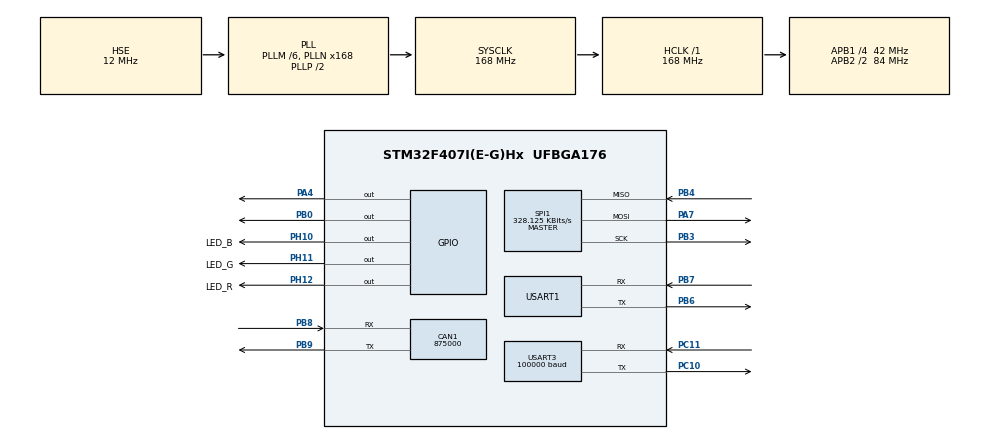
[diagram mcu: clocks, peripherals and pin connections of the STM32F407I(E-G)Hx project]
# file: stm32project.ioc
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CAN1.CalculateBaudRate=875000
CAN1.CalculateTimeBit=1142
CAN1.CalculateTimeQuantum=380.95238095238096
Dma.Request0=USART1_TX
Dma.Request1=USART3_RX
Dma.USART1_TX.0.Direction=DMA_MEMORY_TO_PERIPH
Dma.USART1_TX.0.FIFOMode=DMA_FIFOMODE_DISABLE
Dma.USART1_TX.0.Instance=DMA2_Stream7
Dma.USART1_TX.0.MemDataAlignment=DMA_MDATAALIGN_BYTE
Dma.USART1_TX.0.MemInc=DMA_MINC_ENABLE
Dma.USART1_TX.0.Mode=DMA_NORMAL
Dma.USART1_TX.0.PeriphDataAlignment=DMA_PDATAALIGN_BYTE
Dma.USART1_TX.0.PeriphInc=DMA_PINC_DISABLE
Dma.USART1_TX.0.Priority=DMA_PRIORITY_VERY_HIGH
Dma.USART3_RX.1.Direction=DMA_PERIPH_TO_MEMORY
Dma.USART3_RX.1.FIFOMode=DMA_FIFOMODE_DISABLE
Dma.USART3_RX.1.Instance=DMA1_Stream1
Dma.USART3_RX.1.MemDataAlignment=DMA_MDATAALIGN_BYTE
Dma.USART3_RX.1.MemInc=DMA_MINC_ENABLE
Dma.USART3_RX.1.Mode=DMA_NORMAL
Dma.USART3_RX.1.PeriphDataAlignment=DMA_PDATAALIGN_BYTE
Dma.USART3_RX.1.PeriphInc=DMA_PINC_DISABLE
Dma.USART3_RX.1.Priority=DMA_PRIORITY_VERY_HIGH
Mcu.Family=STM32F4
Mcu.Name=STM32F407I(E-G)Hx
Mcu.Package=UFBGA176
NVIC.DMA1_Stream1_IRQn=true\:0\:0\:false\:false\:true\:false\:true\:true
NVIC.DMA2_Stream7_IRQn=true\:0\:0\:false\:false\:true\:false\:true\:true
NVIC.PriorityGroup=NVIC_PRIORITYGROUP_4
NVIC.USART1_IRQn=true\:0\:0\:false\:false\:true\:false\:true\:true
NVIC.USART3_IRQn=true\:0\:0\:false\:false\:true\:true\:true\:true
PA13.Mode=Serial_Wire
PA13.Signal=SYS_JTMS-SWDIO
PA14.Mode=Serial_Wire
PA14.Signal=SYS_JTCK-SWCLK
PA4.Signal=GPIO_Output
PA7.Mode=Full_Duplex_Master
PA7.Signal=SPI1_MOSI
PB0.Signal=GPIO_Output
PB3.Mode=Full_Duplex_Master
PB3.Signal=SPI1_SCK
PB4.Mode=Full_Duplex_Master
PB4.Signal=SPI1_MISO
PB6.Mode=Asynchronous
PB6.Signal=USART1_TX
PB7.Mode=Asynchronous
PB7.Signal=USART1_RX
PB8.Mode=CAN_Activate
PB8.Signal=CAN1_RX
PB9.Mode=CAN_Activate
PB9.Signal=CAN1_TX
PC10.Mode=Asynchronous
PC10.Signal=USART3_TX
PC11.Mode=Asynchronous
PC11.Signal=USART3_RX
PH0-OSC_IN.Mode=HSE-External-Oscillator
PH0-OSC_IN.Signal=RCC_OSC_IN
PH1-OSC_OUT.Mode=HSE-External-Oscillator
PH1-OSC_OUT.Signal=RCC_OSC_OUT
PH10.GPIO_Label=LED_B
PH10.Signal=GPIO_Output
PH11.GPIO_Label=LED_G
PH11.Signal=GPIO_Output
PH12.GPIO_Label=LED_R
PH12.Signal=GPIO_Output
ProjectManager.HeapSize=0x200
ProjectManager.StackSize=0x400
ProjectManager.TargetToolchain=Makefile
RCC.48MHZClocksFreq_Value=84000000
RCC.AHBFreq_Value=168000000
RCC.APB1CLKDivider=RCC_HCLK_DIV4
RCC.APB1Freq_Value=42000000
RCC.APB1TimFreq_Value=84000000
RCC.APB2CLKDivider=RCC_HCLK_DIV2
RCC.APB2Freq_Value=84000000
RCC.APB2TimFreq_Value=168000000
RCC.CortexFreq_Value=168000000
RCC.HCLKFreq_Value=168000000
RCC.HSE_VALUE=12000000
RCC.HSI_VALUE=16000000
RCC.LSE_VALUE=32768
RCC.PLLM=6
RCC.PLLN=168
RCC.PLLSourceVirtual=RCC_PLLSOURCE_HSE
RCC.SYSCLKFreq_VALUE=168000000
RCC.SYSCLKSource=RCC_SYSCLKSOURCE_PLLCLK
RCC.VCOOutputFreq_Value=336000000
SPI1.BaudRatePrescaler=SPI_BAUDRATEPRESCALER_256
SPI1.CLKPhase=SPI_PHASE_2EDGE
SPI1.CLKPolarity=SPI_POLARITY_HIGH
SPI1.CalculateBaudRate=328.125 KBits/s
SPI1.Direction=SPI_DIRECTION_2LINES
SPI1.Mode=SPI_MODE_MASTER
SPI1.VirtualType=VM_MASTER
USART1.VirtualMode=VM_ASYNC
USART3.BaudRate=100000
USART3.Parity=PARITY_EVEN
USART3.VirtualMode=VM_ASYNC
board=custom

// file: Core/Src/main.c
/* USER CODE BEGIN Header */
/**
  ******************************************************************************
  * @file           : main.c
  * @brief          : Main program body
  ******************************************************************************
  * @attention
  *
  * Copyright (c) 2026 STMicroelectronics.
  * All rights reserved.
  *
  * This software is licensed under terms that can be found in the LICENSE file
  * in the root directory of this software component.
  * If no LICENSE file comes with this software, it is provided AS-IS.
  *
  ******************************************************************************
  */
/* USER CODE END Header */
#include "main.h"

/* USER CODE BEGIN Includes */
#include <stdarg.h>     /* va_list / va_start / va_end   → 实现变参 printf */
#include <stdio.h>      /* vsnprintf                     → 格式化字符串   */
#include <math.h>       /* sinf / cosf                   → 地面系旋转     */
/* USER CODE END Includes */

/* USER CODE BEGIN PTD */

/* ============ 遥控器（DBUS）数据结构 ============ */
typedef struct
{
  struct
  {
    int16_t ch[5];          /* 4 个摇杆 + 1 个预留；已减去中位 1024 → 中位为 0 */
    char    s[2];           /* 左右拨杆：1=上(拨向上) 2=中 3=下 */
  } rc;
  struct
  {
    int16_t x, y, z;        /* 鼠标位移（x=左右，y=上下，z=滚轮） */
    uint8_t press_l;        /* 鼠标左键：1=按下 */
    uint8_t press_r;        /* 鼠标右键：1=按下 */
  } mouse;
  union
  {
    uint16_t v;             /* 键盘值（16 位位图，WATCH 里看这个最直观） */
    struct
    {
      uint16_t W : 1, S : 1, A : 1, D : 1, SHIFT : 1, CTRL : 1;
      uint16_t Q : 1, E : 1, R : 1, F : 1, G : 1, Z : 1, X : 1, C : 1, V : 1, B : 1;
    } bit;
  } key;
} RC_ctrl_t;

/* USER CODE END PTD */

/* USER CODE BEGIN PD */

/* ============ 遥控器 DBUS 协议参数 ============ */
#define RC_FRAME_LENGTH    18     /* DBUS 一帧固定 18 字节 */
#define RC_CH_VALUE_OFFSET 1024   /* 摇杆中位（11 位数据的中值：1024） */
#define RC_TIMEOUT_MS      100    /* 超过 100ms 没收到帧 → 判定遥控器掉线 */

/* ============ printf 发送缓冲区大小 ============ */
#define PRINT_BUF_SIZE     256

/* ============ BMI088 陀螺仪 ============ */
/* 上电复位后的默认量程是 ±2000 dps（芯片默认值，不用写寄存器配置）
   → 1 LSB = 1/16.384 °/s = 0.0010653 rad/s */
#define BMI088_GYRO_SEN    0.0010653f

/* USER CODE END PD */

CAN_HandleTypeDef hcan1;

SPI_HandleTypeDef hspi1;

UART_HandleTypeDef huart1;
UART_HandleTypeDef huart3;
DMA_HandleTypeDef hdma_usart1_tx;
DMA_HandleTypeDef hdma_usart3_rx;

/* USER CODE BEGIN PV */
CAN_HandleTypeDef hcan1;          // CAN1 句柄
CAN_TxHeaderTypeDef TxHeader;     // 发送帧头
uint8_t TxData[8];                // 8 字节数据（一帧最多 8 字节）

/* --- 接收用：调试窗口（WATCH / Live Watch）直接看这几个变量 --- */
volatile uint32_t RxStdId;        // 收到的帧 ID（1号电机 = 0x201）
volatile uint8_t  RxData[8];      // 收到的 8 字节原始数据
volatile uint32_t RxCount;        // 累计收到帧数（用于验证是否在收）
volatile uint32_t RxLastTick;     // 最后一次收到反馈帧的时刻（HAL_GetTick 毫秒时间戳）

/* --- 拼好的物理量：调试窗口直接看，不用自己拼字节 --- */
volatile uint16_t RxEcd;          // 编码器机械角度 0~8191
volatile int16_t  RxSpeed;        // 转速 RPM（正=正转）
volatile int16_t  RxCurrent;      // 实际转矩电流
volatile uint8_t  RxTemp;

/* --- 4 个电机的反馈：下标 [0]~[3] 对应 CAN ID 0x201~0x204 --- */
volatile uint16_t RxEcd4[4];      // 各电机角度
volatile int16_t  RxSpeed4[4];    // 各电机转速 RPM
volatile int16_t  RxCurrent4[4];  // 各电机实际电流
volatile uint8_t  RxTemp4[4];     // 各电机温度
volatile uint32_t RxCount4[4];    // 各电机收帧计数

volatile int16_t initAngle;        // 机械角度（0~8191）
volatile int16_t fakeUseCurrent  = 500;   // 老变量保留
volatile int16_t fakeUseCurrent1 = 0;     // 1 号电机输出电流
volatile int16_t fakeUseCurrent2 = 0;     // 2 号电机输出电流
volatile int16_t fakeUseCurrent3 = 0;     // 3 号电机输出电流
volatile int16_t fakeUseCurrent4 = 0;     // 4 号电机输出电流
volatile int16_t fakeUseSpeed   = 1500;
volatile int16_t fakeUseSpeedLR = 0;      // 左右平移目标转速（0号通道，同强度）
volatile int16_t fakeUseOmega = 0;

/* --- BMI088 陀螺仪（SPI1：PB3=SCK / PB4=MISO / PA7=MOSI；CS：PA4=加速度计 / PB0=陀螺仪）--- */
volatile uint8_t BMI088_gyro_id;      /* 陀螺仪 ID（正常 0x0F，用来验证 SPI 通不通） */
volatile float   BMI088_gyro[3];      /* 三轴角速度 rad/s：X / Y / Z */
volatile float   gyro_offset[3];      /* 上电零漂标定值（rad/s） */
volatile float   INS_yaw;             /* ★ 绝对角度（rad，上电时刻 = 0，逆时针为正） */

/* --- 遥控器（DBUS）：WATCH 里直接看 rc_ctrl.rc.ch[0]~[3] --- */
uint8_t  rc_buf[RC_FRAME_LENGTH];     /* DMA 接收缓冲区：原始 18 字节（生数据） */
RC_ctrl_t rc_ctrl;                    /* 解码后的遥控器数据（熟数据，WATCH 看这个） */
volatile uint32_t rc_last_tick;       /* 最后一帧到达时刻（HAL_GetTick），用于掉线判断 */
uint32_t rc_print_tick;               /* printf 打印节流用的时间戳 */
/* USER CODE END PV */

void SystemClock_Config(void);
static void MX_GPIO_Init(void);
static void MX_DMA_Init(void);
static void MX_USART1_UART_Init(void);
static void MX_USART3_UART_Init(void);
static void MX_CAN1_Init(void);
static void MX_SPI1_Init(void);

/* USER CODE BEGIN 0 */
/* ============ CAN1 实现（收发）：M3508 + C620 电调 ============ */

int MOTOR1_CURRENT = 500;      // 1号电机电流：正=正转，负=反转，±16384≈±20A

/* ============ 速度环（内环）参数 ============ */
#define SPD_MAX      800       // 转速上限：超过就断电流（保护电机）
#define KP_SPD       5        // 比例系数（整数）
#define KI_SPD       1         // 积分系数（整数；原 0.5f 在整数运算里会被截断成 0，故取 1）
#define CUR_LIMIT    3000      // 电流限幅（整数，±16384≈±20A，3000≈3.7A）

/*
 * CAN1 初始化，整个程序只调用一次
 * 波特率 = APB1 / (Prescaler x (1 + TimeSeg1 + TimeSeg2))
 *        = 42MHz / (3 x (1 + 11 + 2)) = 42MHz / 42 = 1Mbps
 * 注意：APB1 频率由时钟配置决定，换了晶振/时钟树后这里必须重新算
 */
static void CAN1_Init(void)
{
  GPIO_InitTypeDef gpio = {0};

  /* HAL宏：使能 CAN1 外设的时钟。STM32 外设默认断电，不开时钟则 CAN1 完全不工作 */
  __HAL_RCC_CAN1_CLK_ENABLE();                 // 开 CAN1 时钟

  /* ★ 硬复位 CAN 外设，让下面的 HAL_CAN_Init 从干净状态重新配置

     为什么需要：CubeMX 生成代码时给 main() 加了一个 MX_CAN1_Init()，它已经用
     Prescaler=16 / TSeg1=1TQ / TSeg2=1TQ（=875kbps）初始化过一次 CAN，并且
     把 CAN 拉到总线上处于 Normal 模式。这里如果不复位，会出现两个问题：
       ① BTR 可能沿用 875kbps → 电调完全收不到指令
       ② 前面若已在总线上出错进入 bus-off，HAL_CAN_Init 等 INAK 会超时（10ms）
          → hcan1.State 变成 ERROR → 之后 ConfigFilter / Start 会静默失败

     复位 + 把 State 手动置回 RESET 后，HAL_CAN_Init 会：
       - 重新调用 HAL_CAN_MspInit（再开一次时钟，无害）
       - 用下面 hcan1.Init 里的 1Mbps 参数重新写 BTR 寄存器         */
  __HAL_RCC_CAN1_FORCE_RESET();
  __HAL_RCC_CAN1_RELEASE_RESET();
  hcan1.State = HAL_CAN_STATE_RESET;

  /* HAL宏：使能 GPIOD 的时钟。PD0/PD1 属于 D 口，不开时钟就配置不了这两个引脚 */
  __HAL_RCC_GPIOD_CLK_ENABLE();                // 开 GPIOD 时钟（PD0/PD1 在 D 口）

  gpio.Pin       = GPIO_PIN_0 | GPIO_PIN_1;    // PD0=RX, PD1=TX
  gpio.Mode      = GPIO_MODE_AF_PP;            // 复用推挽
  gpio.Pull      = GPIO_PULLUP;                // 上拉
  gpio.Speed     = GPIO_SPEED_FREQ_VERY_HIGH;  // 高速
  gpio.Alternate = GPIO_AF9_CAN1;              // 复用功能 = CAN1 (AF9)
  /* HAL函数：按 gpio 结构体里的配置初始化 GPIO
     作用：把 PD0/PD1 从"普通IO"切换成"CAN1 复用功能"（AF9） */
  HAL_GPIO_Init(GPIOD, &gpio);

  hcan1.Instance           = CAN1;             // CAN1 外设
  hcan1.Init.Prescaler     = 3;                // 分频（APB1=42MHz，3x14=42 → 正好 1Mbps）
  hcan1.Init.Mode          = CAN_MODE_NORMAL;  // 正常模式
  hcan1.Init.SyncJumpWidth = CAN_SJW_1TQ;      // 同步跳转宽度
  hcan1.Init.TimeSeg1      = CAN_BS1_11TQ;     // 段1
  hcan1.Init.TimeSeg2      = CAN_BS2_2TQ;      // 段2（1+11+2=14 → 3x14=42 → 1Mbps，采样点 85.7%）
  hcan1.Init.TimeTriggeredMode    = DISABLE;
  hcan1.Init.AutoBusOff           = ENABLE;
  hcan1.Init.AutoWakeUp           = DISABLE;
  hcan1.Init.AutoRetransmission   = ENABLE;
  hcan1.Init.ReceiveFifoLocked    = DISABLE;
  hcan1.Init.TransmitFifoPriority = DISABLE;
  /* HAL函数：用 hcan1.Init 里的参数初始化 CAN1 控制器
     内部动作：算波特率、把分频/时间段/工作模式写进 CAN 寄存器 */
  HAL_CAN_Init(&hcan1);
  gpio.Pin  = GPIO_PIN_8 | GPIO_PIN_9;
  gpio.Mode = GPIO_MODE_ANALOG;
  gpio.Pull = GPIO_NOPULL;
  HAL_GPIO_Init(GPIOB, &gpio);

  /*
   * 过滤器（ID_LIST 列表模式）：只放行 0x201~0x204 四个电调反馈帧
   * 注意：16 位列表模式下这 4 个字段都是"ID 存储位"，标准 ID 需左移 5 位
   */
  CAN_FilterTypeDef filter = {0};
  filter.FilterMode           = CAN_FILTERMODE_IDLIST;   // 列表模式：只收列出的 ID
  filter.FilterScale          = CAN_FILTERSCALE_16BIT;   // 16 位 → 一组装 4 个 ID
  filter.FilterIdHigh         = 0x201 << 5;              // 1号电机
  filter.FilterIdLow          = 0x202 << 5;              // 2号电机
  filter.FilterMaskIdHigh     = 0x203 << 5;              // 3号电机
  filter.FilterMaskIdLow      = 0x204 << 5;              // 4号电机
  filter.FilterBank           = 0;                       // CAN1 只能用 0~13
  filter.FilterFIFOAssignment = CAN_FILTER_FIFO0;        // 送进 FIFO0
  filter.FilterActivation     = ENABLE;
  /* HAL函数：把上面的 filter 配置写进硬件过滤器
     作用：决定总线上哪些 ID 的帧能被收进来（不匹配的硬件直接丢弃） */
  HAL_CAN_ConfigFilter(&hcan1, &filter);

  /* HAL函数：让 CAN 离开"初始化模式"、进入正常工作状态
     不调用的话，后面所有发送/接收都会直接失败 */
  HAL_CAN_Start(&hcan1);                       // 启动 CAN（不启动发送会失败）

  /* 打开接收中断：FIFO0 收到匹配帧 → 触发 CAN1_RX0 中断 → 调用回调 */
  /* HAL函数：打开"FIFO0 收到新消息"这个中断使能
     打开后：FIFO0 一有新帧，HAL 就会自动调用接收回调函数 */
  HAL_CAN_ActivateNotification(&hcan1, CAN_IT_RX_FIFO0_MSG_PENDING);
  /* HAL函数：设置 CAN1_RX0 中断的优先级（抢占优先级0、子优先级0）
     数值越小优先级越高，0 是最高优先级 */
  HAL_NVIC_SetPriority(CAN1_RX0_IRQn, 0, 0);   // 优先级
  /* HAL函数：在 NVIC（中断控制器）里真正"放行"这个中断
     不调用的话，即使 FIFO 有数据，CPU 也不会跳进中断函数 */
  HAL_NVIC_EnableIRQ(CAN1_RX0_IRQn);           // 放行中断
}

/*
 * 发送电流指令给 1~4 号电调（CAN ID = 0x200）
 * cur1~cur4：电流给定，正=正转，负=反转，±16384 对应 ±20A
 */
static void CAN_cmd_chassis(int16_t cur1, int16_t cur2, int16_t cur3, int16_t cur4)
{
  uint32_t TxMailbox;

  TxHeader.StdId = 0x200;         // CAN ID
  TxHeader.IDE   = CAN_ID_STD;    // 标准帧
  TxHeader.RTR   = CAN_RTR_DATA;  // 数据帧
  TxHeader.DLC   = 8;             // 8 字节

  TxData[0] = cur1 >> 8;   TxData[1] = cur1 & 0xFF;   // 电机1
  TxData[2] = cur2 >> 8;   TxData[3] = cur2 & 0xFF;   // 电机2
  TxData[4] = cur3 >> 8;   TxData[5] = cur3 & 0xFF;   // 电机3
  TxData[6] = cur4 >> 8;   TxData[7] = cur4 & 0xFF;   // 电机4

  /* HAL函数：把这一帧放进发送邮箱并请求发送
     参数依次：CAN句柄、帧头（含ID/长度）、8字节数据、回填"用了哪个邮箱"
     注意：返回 HAL_OK 只表示"投递成功"，不代表电调收到了（要等对方回 ACK） */
  HAL_CAN_AddTxMessage(&hcan1, &TxHeader, TxData, &TxMailbox);
}

/*
 * 速度环（内环）：让电机稳定在 SPD_TARGET 转速
 * 输出 = PI(目标转速 - 实际转速) → 电流
 * 两道保护：① 反馈超时（50ms 收不到新帧）→ 断输出
 *           ② 转速超过 SPD_MAX            → 断输出
 */

static void SpeedLoop_Fake(void)
{
  /* 目标转速 = 前后项(fakeUseSpeed) + 左右项(fakeUseSpeedLR)，各自带自己的方向系数
     麦轮横移时左右两侧轮子的世界转向相反 → 本体系数 = 前后系数 × 横移分配 */
  /* 每行开头的方向系数：+1 = 与 1 号电机同向；-1 = 镜像安装（本体必须反转才跟大家同向）
     —— 哪个电机转反了，就改那一行的符号
     注意：RxSpeed4[i] 是"电机本体"的转速，不乘方向系数 */
  fakeUseCurrent1 = (-1) * fakeUseSpeed + (-1) * fakeUseSpeedLR + (1) * fakeUseOmega - RxSpeed4[0];   /* 1 号：本体反向 */
  fakeUseCurrent2 = ( 1) * fakeUseSpeed + (-1) * fakeUseSpeedLR + (1) * fakeUseOmega - RxSpeed4[1];   /* 2 号：本体反向 */
  fakeUseCurrent3 = ( 1) * fakeUseSpeed + ( 1) * fakeUseSpeedLR + (1) * fakeUseOmega - RxSpeed4[2];   /* 3 号：正常 */
  fakeUseCurrent4 = (-1) * fakeUseSpeed + ( 1) * fakeUseSpeedLR + (1) * fakeUseOmega - RxSpeed4[3];   /* 4 号：正常 */

  if (fakeUseCurrent1 > 2000)
  {
    fakeUseCurrent1 = 2000;
  }
  if (fakeUseCurrent1 < -2000)
  {
    fakeUseCurrent1 = -2000;
  }
  /* 2/3/4 号电机同样的限幅 */
  if (fakeUseCurrent2 >  2000) fakeUseCurrent2 =  2000;
  if (fakeUseCurrent2 < -2000) fakeUseCurrent2 = -2000;
  if (fakeUseCurrent3 >  2000) fakeUseCurrent3 =  2000;
  if (fakeUseCurrent3 < -2000) fakeUseCurrent3 = -2000;
  if (fakeUseCurrent4 >  2000) fakeUseCurrent4 =  2000;
  if (fakeUseCurrent4 < -2000) fakeUseCurrent4 = -2000;

  CAN_cmd_chassis(fakeUseCurrent1, fakeUseCurrent2, fakeUseCurrent3, fakeUseCurrent4);
}

/* ============ 位置环（外环，只用 P 和 D）============ */
#define HALF_TURN_CNT   78656   /* 输出轴转半圈 = 转子 9.6 圈 × 8192 计数
                                   （若指"转子半圈"，改成 4096） */
#define KP_ANG_SHIFT    4       /* P 系数 = 1/8（数值越大刚度越强） */
#define KD_ANG_SHIFT    0       /* D 系数 = 1（数值越大阻尼越弱） */
#define SPD_CMD_LIMIT   1500    /* 外层输出的目标转速限幅（RPM） */

volatile int32_t errPos, spdCmd;
static uint16_t lastEcd  = 0;   /* 上一帧的单圈角度 */
static int32_t  totalCnt = 0;   /* 多圈累计角度（转子计数） */
static int32_t  startCnt = 0;   /* 起点：第一次调用时的累计角度 */
static uint8_t  started  = 0;   /* 是否已记起点 */

static void Rotate_Fake(int32_t targetAngle){

  /* ① 单圈角度 0~8191 累加成"多圈位移"
        差值转 int16_t：跨越 0/8191 边界时自动得到 ±小增量，天然处理回绕 */
  int32_t dCnt = (int32_t)RxEcd - (int32_t)lastEcd;   /* 本帧增量，范围 -8191 ~ +8191 */
  if (dCnt >  4096) dCnt -= 8192;                     /* 正向跨过一圈边界（8191→0） */
  if (dCnt < -4096) dCnt += 8192;                     /* 反向跨过一圈边界（0→8191） */
  totalCnt += dCnt;
  lastEcd   = RxEcd;

  if (!started)                     /* 第一次调用：记下起点 */
  {
    startCnt = totalCnt;
    started  = 1;
  }

  /* ② 位置误差（计数）：正 = 还差多少到目标
        targetAngle = "从起点还要转多少"（不是转到哪） */
  errPos = (startCnt + targetAngle) - totalCnt;

  /* ③ PD：P 项 = 误差右移（÷128）当目标转速；D 项 = 用实测转速当阻尼 */
  spdCmd = (errPos >> KP_ANG_SHIFT) - (RxSpeed >> KD_ANG_SHIFT);

  /* ④ 目标转速限幅 */
  if (spdCmd > SPD_CMD_LIMIT) spdCmd = SPD_CMD_LIMIT;
  if (spdCmd < -SPD_CMD_LIMIT) spdCmd = -SPD_CMD_LIMIT;

  /* ⑤ 交给内层执行（内层把它当成 SPD_TARGET 去追） */
  fakeUseSpeed = (int16_t)spdCmd;
  SpeedLoop_Fake();
}

/*
 * 接收回调：CAN1 FIFO0 收到匹配帧时由 HAL 自动调用（运行在中断里）
 * 功能：把 8 字节原始数据搬到全局变量，供调试窗口查看
 */
void HAL_CAN_RxFifo0MsgPendingCallback(CAN_HandleTypeDef *hcan1)
{
  CAN_RxHeaderTypeDef RxHeader;
  uint8_t tmp[8];

  /* HAL函数：从 FIFO0 取出 1 帧数据
     帧头信息写入 RxHeader（ID、长度等），8 字节数据写入 tmp，成功返回 HAL_OK */
  if (HAL_CAN_GetRxMessage(hcan1, CAN_RX_FIFO0, &RxHeader, tmp) == HAL_OK)
  {
    /* ① 刷新"还活着"的时间戳：速度环用它判断反馈有没有断线 */
    /* HAL函数：读取系统已运行的毫秒数（由 SysTick 中断每 1ms 累加一次）
       这里用于速度环的"反馈超时"判断 */
    RxLastTick = HAL_GetTick();

    /* ② 保存帧 ID 和原始 8 字节（调试器里可以直接看） */
    RxStdId = RxHeader.StdId;
    /* 只处理 0x201~0x204 四个电调反馈帧；idx = 0~3 对应电机 1~4 */
    if (RxStdId >= 0x201 && RxStdId <= 0x204)
      {
        int idx = (int)(RxStdId - 0x201);                // 0~3 对应电机 1~4
        for (int i = 0; i < 8; i++) RxData[i] = tmp[i];  // 拷贝 8 字节（原始）
        RxCount++;                                       // 帧数 +1

      /* ③ 心跳灯：每收到 500 帧就翻转一次绿灯
            电调回传频率是 1kHz → 约 2Hz 闪烁（肉眼明显）
            作用：不用调试器也能判断接收死活
                  绿灯稳定闪烁 = 接收正常 ✅
                  绿灯不动     = 接收断了 ❌                        */
      if ((RxCount % 2000) == 1)   // 4 个电机共约 4kHz 帧率 → 2000 帧仍约 2Hz
      {
        /* HAL函数：翻转引脚电平（当前是高就变低，是低就变高） */
        HAL_GPIO_TogglePin(LED_G_GPIO_Port, LED_G_Pin);
      }

      /* 按电调反馈帧格式拼出物理量：高八位在前，低八位在后 */
      /* 每个电机只填自己那一格：idx 0~3 ←→ 电机 1~4 */
      RxEcd4[idx]     = (uint16_t)((tmp[0] << 8) | tmp[1]);  // 编码器角度 0~8191
      RxSpeed4[idx]   = (int16_t) ((tmp[2] << 8) | tmp[3]);  // 转速 RPM
      RxCurrent4[idx] = (int16_t) ((tmp[4] << 8) | tmp[5]);  // 实际电流
      RxTemp4[idx]    = tmp[6];                              // 温度
      RxCount4[idx]++;                                       // 该电机累计帧数

      /* 1 号电机的值同步留在老变量里（调试习惯 + Rotate_Fake 在用） */
      RxEcd     = RxEcd4[0];
      RxSpeed   = RxSpeed4[0];
      RxCurrent = RxCurrent4[0];
      RxTemp    = RxTemp4[0];

    }
  }
  //aaa
}
/* ==================================================================
 * 遥控器（DBUS）部分
 * 数据流：USART3 硬件 → DMA 搬运 → rc_buf[18] →(解码) rc_ctrl → 你使用
 * ================================================================== */

/*
 * 位拼接解码：把 18 字节生数据按 DBUS 协议还原成物理量
 * DBUS 把多个 11 位的通道值连续打包，所以要用"移位 + 或 + 掩码"跨字节拼
 * 0x07ff = 二进制 11 个 1 → 作用就是截取 11 位
 */
static void sbus_to_rc(volatile const uint8_t *sbus_buf, RC_ctrl_t *rc_ctrl)
{
  if (sbus_buf == NULL || rc_ctrl == NULL)
  {
    return;
  }

  /* ① 4 个摇杆通道：每通道 11 位，可能横跨 2~3 个字节 */
  rc_ctrl->rc.ch[0] =  (sbus_buf[0]       | (sbus_buf[1] << 8)) & 0x07ff;                       /* 右摇杆 左右 */
  rc_ctrl->rc.ch[1] = ((sbus_buf[1] >> 3) | (sbus_buf[2] << 5)) & 0x07ff;                       /* 右摇杆 上下 */
  rc_ctrl->rc.ch[2] = ((sbus_buf[2] >> 6) | (sbus_buf[3] << 2) | (sbus_buf[4] << 10)) & 0x07ff; /* 左摇杆 上下 */
  rc_ctrl->rc.ch[3] = ((sbus_buf[4] >> 1) | (sbus_buf[5] << 7)) & 0x07ff;                       /* 左摇杆 左右 */

  /* ② 左右拨杆：各 2 位（1=向上 2=中间 3=向下），都挤在第 6 个字节里 */
  rc_ctrl->rc.s[0]  =  (sbus_buf[5] >> 4) & 0x0003;
  rc_ctrl->rc.s[1]  = ((sbus_buf[5] >> 4) & 0x000C) >> 2;

  /* ③ 鼠标：x/y/z 各 16 位，左右键各占 1 个字节 */
  rc_ctrl->mouse.x       =  sbus_buf[6]  | (sbus_buf[7]  << 8);
  rc_ctrl->mouse.y       =  sbus_buf[8]  | (sbus_buf[9]  << 8);
  rc_ctrl->mouse.z       =  sbus_buf[10] | (sbus_buf[11] << 8);
  rc_ctrl->mouse.press_l =  sbus_buf[12];
  rc_ctrl->mouse.press_r =  sbus_buf[13];

  /* ④ 键盘（16 位位图：哪一位是 1 就表示哪个键按下了） */
  rc_ctrl->key.v = sbus_buf[14] | (sbus_buf[15] << 8);

  /* ⑤ 第 5 通道（预留，遥控器一般不用） */
  rc_ctrl->rc.ch[4] = sbus_buf[16] | (sbus_buf[17] << 8);

  /* ⑥ 摇杆原始值是 364~1684，减掉中位 1024 → 变成 -1024~+1023，中位为 0，用起来最方便 */
  rc_ctrl->rc.ch[0] -= RC_CH_VALUE_OFFSET;
  rc_ctrl->rc.ch[1] -= RC_CH_VALUE_OFFSET;
  rc_ctrl->rc.ch[2] -= RC_CH_VALUE_OFFSET;
  rc_ctrl->rc.ch[3] -= RC_CH_VALUE_OFFSET;
  rc_ctrl->rc.ch[4] -= RC_CH_VALUE_OFFSET;
}

/*
 * 遥控器在线判断
 * 返回 1 = 掉线（超过 RC_TIMEOUT_MS 毫秒没收到任何一帧）
 * 用途：掉线时必须让电机停住，否则机器人会带着最后一条指令一直跑
 */
uint8_t RC_is_offline(void)
{
  if (rc_last_tick == 0)     /* 上电后一帧都没收到过 */
  {
    return 1;
  }
  return (HAL_GetTick() - rc_last_tick > RC_TIMEOUT_MS) ? 1 : 0;
}

/*
 * DMA 版 printf：把格式化好的字符串用 USART1 的 DMA 发到电脑串口助手
 * 与标准 printf 的区别：DMA 在后台搬数据，CPU 只做"格式化"这一步
 */
void usart_printf(const char *fmt, ...)
{
  static uint8_t tx_buf[PRINT_BUF_SIZE];   /* static：DMA 在后台读它，不能放栈上 */
  va_list ap;
  int len;
  uint32_t t0;

  /*
   * 先等上一次 DMA 发完，再往 tx_buf 写新内容
   * 不等的话会把"正在发送中的缓冲"覆盖掉 → 输出乱码
   * 加超时保护：串口万一异常也不会在这儿死等
   */
  t0 = HAL_GetTick();
  while (huart1.gState != HAL_UART_STATE_READY)
  {
    if (HAL_GetTick() - t0 > 10)
    {
      return;
    }
  }

  /* 变参三步走：va_start 取参数 → vsnprintf 格式化 → va_end 收尾 */
  va_start(ap, fmt);
  len = vsnprintf((char *)tx_buf, PRINT_BUF_SIZE, fmt, ap);
  va_end(ap);

  if (len <= 0)
  {
    return;
  }
  if (len > PRINT_BUF_SIZE - 1)
  {
    len = PRINT_BUF_SIZE - 1;      /* 内容超出缓冲时截断，防止越界发送 */
  }

  /* HAL函数：启动 DMA 发送（非阻塞，立刻返回，数据由 DMA 后台搬走） */
  HAL_UART_Transmit_DMA(&huart1, tx_buf, (uint16_t)len);
}

/*
 * 遥控器接收完成回调（HAL 的弱函数，这里重写它）
 * HAL 已经替我们做完：开 IDLE 中断、进 USART3_IRQHandler、算出收到多少字节、
 * 关 DMA、重启 DMA —— 我们只拿到"这一趟收了多少字节(Size)"这一个结果
 */
void HAL_UARTEx_RxEventCallback(UART_HandleTypeDef *huart, uint16_t Size)
{
  if (huart->Instance != USART3)
  {
    return;
  }

  /* 半传输事件：缓冲区只收到一半，不是"一帧结束"，忽略 */
  if (huart->RxEventType == HAL_UART_RXEVENT_HT)
  {
    return;
  }

  /* 必须正好是完整一帧（18 字节）才解码；长度不对说明是噪声或中间丢了字节 */
  if (Size == RC_FRAME_LENGTH)
  {
    sbus_to_rc(rc_buf, &rc_ctrl);      /* 生数据 → 物理量 */
    rc_last_tick = HAL_GetTick();      /* 刷新"遥控器还活着"的时间戳 */
  }

  /* 重新武装：再挂一次 DMA 接收，等下一帧（漏了这句就只能收到一帧） */
  HAL_UARTEx_ReceiveToIdle_DMA(&huart3, rc_buf, RC_FRAME_LENGTH);

  /* 关掉"半传输中断"：让 HAL 只在"空闲/缓冲区满"时才回调，少进几次中断 */
  __HAL_DMA_DISABLE_IT(huart->hdmarx, DMA_IT_HT);
}

/*
 * UART 错误回调：HAL 遇到校验错/帧错/溢出时会进这里，
 * 而且它**已经自动停止了接收**（UART_EndRxTransfer）—— 所以我们的任务就是
 * 清标志 + 把 DMA 接收重新挂上；不做的话，遇到一次错误就永久收不到数据了
 */
void HAL_UART_ErrorCallback(UART_HandleTypeDef *huart)
{
  if (huart->Instance != USART3)
  {
    return;
  }

  __HAL_UART_CLEAR_OREFLAG(huart);          /* 读 SR + DR，清掉错误标志 */
  huart->ErrorCode = HAL_UART_ERROR_NONE;   /* 手动清错误码 */

  HAL_UARTEx_ReceiveToIdle_DMA(&huart3, rc_buf, RC_FRAME_LENGTH);   /* 重新武装 */
  __HAL_DMA_DISABLE_IT(huart->hdmarx, DMA_IT_HT);
}

/* ==========================================================================
 * BMI088 陀螺仪驱动（最小版：只读角速度，不做姿态融合）
 * 接线：SPI1 = PB3(SCK) / PB4(MISO) / PA7(MOSI)
 *       CS   = PA4(加速度计 CS1_ACCEL) / PB0(陀螺仪 CS1_GYRO)，都是低电平选中
 * 寄存器：0x00 = ID（陀螺仪应读 0x0F）
 *         0x02~0x07 = X/Y/Z 三轴角速度，每轴 16 位（低字节在前）
 * ========================================================================== */

#define ACC_CS_L()   HAL_GPIO_WritePin(GPIOA, GPIO_PIN_4, GPIO_PIN_RESET)
#define ACC_CS_H()   HAL_GPIO_WritePin(GPIOA, GPIO_PIN_4, GPIO_PIN_SET)
#define GYRO_CS_L()  HAL_GPIO_WritePin(GPIOB, GPIO_PIN_0, GPIO_PIN_RESET)
#define GYRO_CS_H()  HAL_GPIO_WritePin(GPIOB, GPIO_PIN_0, GPIO_PIN_SET)

/*
 * SPI 全双工收发 1 字节：发出去的同时就在收（SPI 的物理特性决定的）
 * BMI088 用 SPI 模式 3（CPOL=1, CPHA=1），和 MX_SPI1_Init 里的配置一致
 */
static uint8_t BMI088_rw(uint8_t tx)
{
  uint8_t rx = 0;
  /* HAL函数：SPI 全双工收发
     参数：SPI句柄、发送缓冲、接收缓冲、字节数、超时(ms) */
  HAL_SPI_TransmitReceive(&hspi1, &tx, &rx, 1, 100);
  return rx;
}

/*
 * 读陀螺仪的连续 len 个寄存器
 * BMI088 的 SPI 协议规定：读操作的地址最高位要置 1，写操作清 0
 * 整个过程 CS 必须一直保持低电平，读完才拉高（拉高 = 一帧结束）
 */
static void BMI088_gyro_read_regs(uint8_t reg, uint8_t *buf, uint8_t len)
{
  uint8_t i;
  reg |= 0x80;                  /* 最高位 = 1 → 读操作 */
  GYRO_CS_L();
  BMI088_rw(reg);               /* 先发寄存器地址 */
  for (i = 0; i < len; i++)
  {
    buf[i] = BMI088_rw(0x00);   /* 之后每发一个空字节，就收回一个数据字节 */
  }
  GYRO_CS_H();
}

/*
 * 读三轴角速度 → rad/s
 * 寄存器 0x02~0x07 依次是 X_L, X_M, Y_L, Y_M, Z_L, Z_M（低字节在前）
 * 注意：教材 P182 的文字写成"RATE_Z_MSB 到 RATE_X_LSB"是写反的，
 *       以 P183 的代码为准（X 在前），这里和 P183 保持一致
 */
static void BMI088_read_gyro(float g[3])
{
  uint8_t buf[6];
  BMI088_gyro_read_regs(0x02, buf, 6);
  g[0] = (float)(int16_t)((buf[1] << 8) | buf[0]) * BMI088_GYRO_SEN;   /* X 轴 */
  g[1] = (float)(int16_t)((buf[3] << 8) | buf[2]) * BMI088_GYRO_SEN;   /* Y 轴 */
  g[2] = (float)(int16_t)((buf[5] << 8) | buf[4]) * BMI088_GYRO_SEN;   /* Z 轴 */
}

/*
 * 读陀螺仪 ID（寄存器 0x00），正常返回 0x0F
 * 作用：上电自检 —— 读不到 0x0F 说明 SPI 接线/片选/模式有问题，不用瞎猜
 */
static uint8_t BMI088_read_gyro_id(void)
{
  uint8_t id = 0;
  BMI088_gyro_read_regs(0x00, &id, 1);
  return id;
}

/* USER CODE END 0 */

int main(void)
{

  /* MCU Configuration--------------------------------------------------------*/

  /* Reset of all peripherals, Initializes the Flash interface and the Systick. */
  HAL_Init();

  /* Configure the system clock */
  SystemClock_Config();

  /* Initialize all configured peripherals */
  MX_GPIO_Init();
  MX_DMA_Init();
  MX_USART1_UART_Init();
  MX_USART3_UART_Init();
  MX_CAN1_Init();
  MX_SPI1_Init();
  /* USER CODE BEGIN 2 */

  /* ★ CAN1 必须最先初始化！
     原因：CubeMX 生成的 MX_CAN1_Init() 已经用 875kbps 把 CAN 拉到总线上了，
     如果在这里先做 BMI088 的 1.3 秒零漂标定，CAN 就会在错误波特率下污染 1Mbps
     总线 1.3 秒 → 4 个 C620 电调全部出错掉线（现象：RxCount=0、电机不动）。
     所以 CAN1_Init() 必须紧跟在外设初始化之后、任何耗时操作之前调用。 */
  CAN1_Init();                      /* CAN1 初始化：整个程序只做一次 */

  /* ---- BMI088 片选上电先拉高 ----
     CubeMX 把 PA4/PB0 的初始电平配成了低电平，而 CS 是低电平选中，
     不修的话上电瞬间加速度计和陀螺仪会同时被选中，两个芯片一起抢 MISO 总线 */
  HAL_GPIO_WritePin(GPIOA, GPIO_PIN_4, GPIO_PIN_SET);   /* 加速度计 CS 拉高 */
  HAL_GPIO_WritePin(GPIOB, GPIO_PIN_0, GPIO_PIN_SET);   /* 陀螺仪   CS 拉高 */

  /* ---- BMI088 上电自检：读陀螺仪 ID，正常应该是 0x0F ---- */
  BMI088_gyro_id = BMI088_read_gyro_id();
  usart_printf("[BMI088] gyro_id = 0x%02X (expect 0x0F)\r\n", BMI088_gyro_id);

  /* ---- 零漂标定：连续采 1000 次求平均（约 1.3 秒）
     陀螺仪静止时也会输出几十 LSB 的零偏，不减掉的话积分出的角度会一直漂
     ★ 这段时间小车必须静止不动！ */
  {
    float sum[3] = {0.0f, 0.0f, 0.0f};
    float g[3];
    int i;
    for (i = 0; i < 1000; i++)
    {
      BMI088_read_gyro(g);
      sum[0] += g[0];
      sum[1] += g[1];
      sum[2] += g[2];
      HAL_Delay(1);
    }
    gyro_offset[0] = sum[0] / 1000.0f;
    gyro_offset[1] = sum[1] / 1000.0f;
    gyro_offset[2] = sum[2] / 1000.0f;
  }
  /* 用整数打印（放大 10 万倍），因为 usart_printf 没开浮点打印支持 */
  usart_printf("[BMI088] offset(1e5) = %d %d %d rad/s\r\n",
               (int)(gyro_offset[0] * 100000.0f),
               (int)(gyro_offset[1] * 100000.0f),
               (int)(gyro_offset[2] * 100000.0f));

  /* HAL函数：启动 USART3 的"DMA + 空闲中断"接收
     作用：DMA 在后台把遥控器发来的 18 字节搬进 rc_buf，
           收满一帧（或总线空闲）时 HAL 自动调用 HAL_UARTEx_RxEventCallback */
  __HAL_UART_CLEAR_OREFLAG(&huart3);   /* 先清掉上电瞬间可能残留的错误标志，
                                          否则启动时若已有挂起错误，接收会被立刻中止 */
  HAL_UARTEx_ReceiveToIdle_DMA(&huart3, rc_buf, RC_FRAME_LENGTH);
  __HAL_DMA_DISABLE_IT(huart3.hdmarx, DMA_IT_HT);   /* 只要"收完一帧"，不要"收了一半"的回调 */
  /* USER CODE END 2 */

  /* Infinite loop */
  /* USER CODE BEGIN WHILE */
  while (1)
  {
         // 速度环：目标 500 RPM，PI 输出电流（带双保护）
    /* ---- 精确 1ms 周期（1kHz）----
       ★ 不能用 HAL_Delay(1)：HAL 内部 wait = Delay + uwTickFreq = 1 + 1 = 2，
         实际会等 1~2ms（平均 1.5ms）→ dt 就不准了 → 积分出的角度只有真实的一半
         （车转 360°，INS_yaw 只积到 180°，于是推前正好变成往后）。
       这里自己等到 SysTick 前进一格，周期才是真正的 1ms。
       注意：循环体若某天超过 1ms，这一格会被跳过，周期就变成 2ms。 */
    {
      static uint32_t last_tick = 0;
      uint32_t now_tick;
      do { now_tick = HAL_GetTick(); } while (now_tick == last_tick);
      last_tick = now_tick;
    }
    HAL_GPIO_WritePin(LED_R_GPIO_Port, LED_R_Pin, GPIO_PIN_SET);

    /* ---- BMI088 陀螺仪：读角速度 + 积分成绝对角度 ---- */
    {
      float g[3];
      BMI088_read_gyro(g);
      BMI088_gyro[0] = g[0];      /* 存进全局变量，WATCH 里可以直接看 */
      BMI088_gyro[1] = g[1];
      BMI088_gyro[2] = g[2];
      /* 绝对角度 = Z 轴角速度积分（先减掉零漂）
         ★ 循环开头的 SysTick 对齐已保证周期是严格 1ms，所以 dt = 0.001f 是准的。
           以后若发现"转一整圈后 INS_yaw 不是回到 0"，先量一次实际周期，
           再改这个系数：新系数 = 0.001 × 6.2832 ÷ (转一圈时 INS_yaw 的读数) */
      INS_yaw -= (g[2] - gyro_offset[2]) * 0.001f;
      /* 归一化到 ±π：每 1ms 的增量极小，两个 if 足够，不需要 while */
      if (INS_yaw >  3.14159265f) INS_yaw -= 6.28318531f;
      if (INS_yaw < -3.14159265f) INS_yaw += 6.28318531f;
    }
    /* ---- 摇杆 → 地面系 → 旋转回车体系（yaw 补偿）----
       摇杆推的方向 = 车相对"地面"要走的方向（上电时刻为参考方向）
       用 INS_yaw 把地面系指令旋转回车体系，再交给轮子
       yaw 逆时针为正：vx' = vx·cosθ + vy·sinθ
                       vy' = -vx·sinθ + vy·cosθ */
    {
      float vx = rc_ctrl.rc.ch[1] * 3;      /* 摇杆前后（地面系） */
      float vy = rc_ctrl.rc.ch[0] * 3;      /* 摇杆左右（地面系） */
      float c  = cosf(INS_yaw);
      float s  = sinf(INS_yaw);
      fakeUseSpeed   = (int16_t)( vx * c + vy * s);
      fakeUseSpeedLR = (int16_t)(-vx * s + vy * c);
    }
    fakeUseOmega = rc_ctrl.rc.ch[2] * 3;    /* 自转照旧：本来就该是车体系，不参与旋转 */
    SpeedLoop_Fake();      // 1kHz 控制周期

    /* 每 100ms 往电脑串口助手打印一次遥控器数据（用 DMA 发送，不占 CPU） */
    if (HAL_GetTick() - rc_print_tick >= 100)
    {
      rc_print_tick = HAL_GetTick();

      if (RC_is_offline())
      {
        usart_printf("[RC] OFFLINE! no frame for > %d ms\r\n", RC_TIMEOUT_MS);
      }
      else
      {
        usart_printf("[RC] ch0=%5d ch1=%5d ch2=%5d ch3=%5d | s0=%d s1=%d | mouse %4d %4d %4d L%d R%d | key=0x%04X\r\n",
                     rc_ctrl.rc.ch[0], rc_ctrl.rc.ch[1], rc_ctrl.rc.ch[2], rc_ctrl.rc.ch[3],
                     rc_ctrl.rc.s[0], rc_ctrl.rc.s[1],
                     rc_ctrl.mouse.x, rc_ctrl.mouse.y, rc_ctrl.mouse.z,
                     rc_ctrl.mouse.press_l, rc_ctrl.mouse.press_r,
                     rc_ctrl.key.v);
      }
    }

    /* USER CODE END WHILE */

  }
}

void SystemClock_Config(void)
{
  RCC_OscInitTypeDef RCC_OscInitStruct = {0};
  RCC_ClkInitTypeDef RCC_ClkInitStruct = {0};

  /** Configure the main internal regulator output voltage
  */
  __HAL_RCC_PWR_CLK_ENABLE();
  __HAL_PWR_VOLTAGESCALING_CONFIG(PWR_REGULATOR_VOLTAGE_SCALE1);

  /** Initializes the RCC Oscillators according to the specified parameters
  * in the RCC_OscInitTypeDef structure.
  */
  RCC_OscInitStruct.OscillatorType = RCC_OSCILLATORTYPE_HSE;
  RCC_OscInitStruct.HSEState = RCC_HSE_ON;
  RCC_OscInitStruct.PLL.PLLState = RCC_PLL_ON;
  RCC_OscInitStruct.PLL.PLLSource = RCC_PLLSOURCE_HSE;
  RCC_OscInitStruct.PLL.PLLM = 6;
  RCC_OscInitStruct.PLL.PLLN = 168;
  RCC_OscInitStruct.PLL.PLLP = RCC_PLLP_DIV2;
  RCC_OscInitStruct.PLL.PLLQ = 4;
  if (HAL_RCC_OscConfig(&RCC_OscInitStruct) != HAL_OK)
  {
    Error_Handler();
  }

  /** Initializes the CPU, AHB and APB buses clocks
  */
  RCC_ClkInitStruct.ClockType = RCC_CLOCKTYPE_HCLK|RCC_CLOCKTYPE_SYSCLK
                              |RCC_CLOCKTYPE_PCLK1|RCC_CLOCKTYPE_PCLK2;
  RCC_ClkInitStruct.SYSCLKSource = RCC_SYSCLKSOURCE_PLLCLK;
  RCC_ClkInitStruct.AHBCLKDivider = RCC_SYSCLK_DIV1;
  RCC_ClkInitStruct.APB1CLKDivider = RCC_HCLK_DIV4;
  RCC_ClkInitStruct.APB2CLKDivider = RCC_HCLK_DIV2;

  if (HAL_RCC_ClockConfig(&RCC_ClkInitStruct, FLASH_LATENCY_5) != HAL_OK)
  {
    Error_Handler();
  }
}

static void MX_CAN1_Init(void)
{

  hcan1.Instance = CAN1;
  hcan1.Init.Prescaler = 16;
  hcan1.Init.Mode = CAN_MODE_NORMAL;
  hcan1.Init.SyncJumpWidth = CAN_SJW_1TQ;
  hcan1.Init.TimeSeg1 = CAN_BS1_1TQ;
  hcan1.Init.TimeSeg2 = CAN_BS2_1TQ;
  hcan1.Init.TimeTriggeredMode = DISABLE;
  hcan1.Init.AutoBusOff = DISABLE;
  hcan1.Init.AutoWakeUp = DISABLE;
  hcan1.Init.AutoRetransmission = DISABLE;
  hcan1.Init.ReceiveFifoLocked = DISABLE;
  hcan1.Init.TransmitFifoPriority = DISABLE;
  if (HAL_CAN_Init(&hcan1) != HAL_OK)
  {
    Error_Handler();
  }

}

static void MX_SPI1_Init(void)
{

  /* SPI1 parameter configuration*/
  hspi1.Instance = SPI1;
  hspi1.Init.Mode = SPI_MODE_MASTER;
  hspi1.Init.Direction = SPI_DIRECTION_2LINES;
  hspi1.Init.DataSize = SPI_DATASIZE_8BIT;
  hspi1.Init.CLKPolarity = SPI_POLARITY_HIGH;
  hspi1.Init.CLKPhase = SPI_PHASE_2EDGE;
  hspi1.Init.NSS = SPI_NSS_SOFT;
  hspi1.Init.BaudRatePrescaler = SPI_BAUDRATEPRESCALER_256;
  hspi1.Init.FirstBit = SPI_FIRSTBIT_MSB;
  hspi1.Init.TIMode = SPI_TIMODE_DISABLE;
  hspi1.Init.CRCCalculation = SPI_CRCCALCULATION_DISABLE;
  hspi1.Init.CRCPolynomial = 10;
  if (HAL_SPI_Init(&hspi1) != HAL_OK)
  {
    Error_Handler();
  }

}

static void MX_USART1_UART_Init(void)
{

  huart1.Instance = USART1;
  huart1.Init.BaudRate = 115200;
  huart1.Init.WordLength = UART_WORDLENGTH_8B;
  huart1.Init.StopBits = UART_STOPBITS_1;
  huart1.Init.Parity = UART_PARITY_NONE;
  huart1.Init.Mode = UART_MODE_TX_RX;
  huart1.Init.HwFlowCtl = UART_HWCONTROL_NONE;
  huart1.Init.OverSampling = UART_OVERSAMPLING_16;
  if (HAL_UART_Init(&huart1) != HAL_OK)
  {
    Error_Handler();
  }

}

static void MX_USART3_UART_Init(void)
{

  huart3.Instance = USART3;
  huart3.Init.BaudRate = 100000;
  huart3.Init.WordLength = UART_WORDLENGTH_9B;
  huart3.Init.StopBits = UART_STOPBITS_1;
  huart3.Init.Parity = UART_PARITY_EVEN;
  huart3.Init.Mode = UART_MODE_TX_RX;
  huart3.Init.HwFlowCtl = UART_HWCONTROL_NONE;
  huart3.Init.OverSampling = UART_OVERSAMPLING_16;
  if (HAL_UART_Init(&huart3) != HAL_OK)
  {
    Error_Handler();
  }

}

static void MX_DMA_Init(void)
{

  /* DMA controller clock enable */
  __HAL_RCC_DMA2_CLK_ENABLE();
  __HAL_RCC_DMA1_CLK_ENABLE();

  /* DMA interrupt init */
  /* DMA1_Stream1_IRQn interrupt configuration */
  HAL_NVIC_SetPriority(DMA1_Stream1_IRQn, 0, 0);
  HAL_NVIC_EnableIRQ(DMA1_Stream1_IRQn);
  /* DMA2_Stream7_IRQn interrupt configuration */
  HAL_NVIC_SetPriority(DMA2_Stream7_IRQn, 0, 0);
  HAL_NVIC_EnableIRQ(DMA2_Stream7_IRQn);

}

static void MX_GPIO_Init(void)
{
  GPIO_InitTypeDef GPIO_InitStruct = {0};

  /* GPIO Ports Clock Enable */
  __HAL_RCC_GPIOB_CLK_ENABLE();
  __HAL_RCC_GPIOA_CLK_ENABLE();
  __HAL_RCC_GPIOC_CLK_ENABLE();
  __HAL_RCC_GPIOH_CLK_ENABLE();

  /*Configure GPIO pin Output Level */
  HAL_GPIO_WritePin(GPIOH, LED_R_Pin|LED_G_Pin|LED_B_Pin, GPIO_PIN_RESET);

  /*Configure GPIO pin Output Level */
  HAL_GPIO_WritePin(GPIOA, GPIO_PIN_4, GPIO_PIN_RESET);

  /*Configure GPIO pin Output Level */
  HAL_GPIO_WritePin(GPIOB, GPIO_PIN_0, GPIO_PIN_RESET);

  /*Configure GPIO pins : LED_R_Pin LED_G_Pin LED_B_Pin */
  GPIO_InitStruct.Pin = LED_R_Pin|LED_G_Pin|LED_B_Pin;
  GPIO_InitStruct.Mode = GPIO_MODE_OUTPUT_PP;
  GPIO_InitStruct.Pull = GPIO_NOPULL;
  GPIO_InitStruct.Speed = GPIO_SPEED_FREQ_LOW;
  HAL_GPIO_Init(GPIOH, &GPIO_InitStruct);

  /*Configure GPIO pin : PA4 */
  GPIO_InitStruct.Pin = GPIO_PIN_4;
  GPIO_InitStruct.Mode = GPIO_MODE_OUTPUT_PP;
  GPIO_InitStruct.Pull = GPIO_NOPULL;
  GPIO_InitStruct.Speed = GPIO_SPEED_FREQ_LOW;
  HAL_GPIO_Init(GPIOA, &GPIO_InitStruct);

  /*Configure GPIO pin : PB0 */
  GPIO_InitStruct.Pin = GPIO_PIN_0;
  GPIO_InitStruct.Mode = GPIO_MODE_OUTPUT_PP;
  GPIO_InitStruct.Pull = GPIO_NOPULL;
  GPIO_InitStruct.Speed = GPIO_SPEED_FREQ_LOW;
  HAL_GPIO_Init(GPIOB, &GPIO_InitStruct);

}

void Error_Handler(void)
{
  __disable_irq();
  while (1)
  {
  }
}
